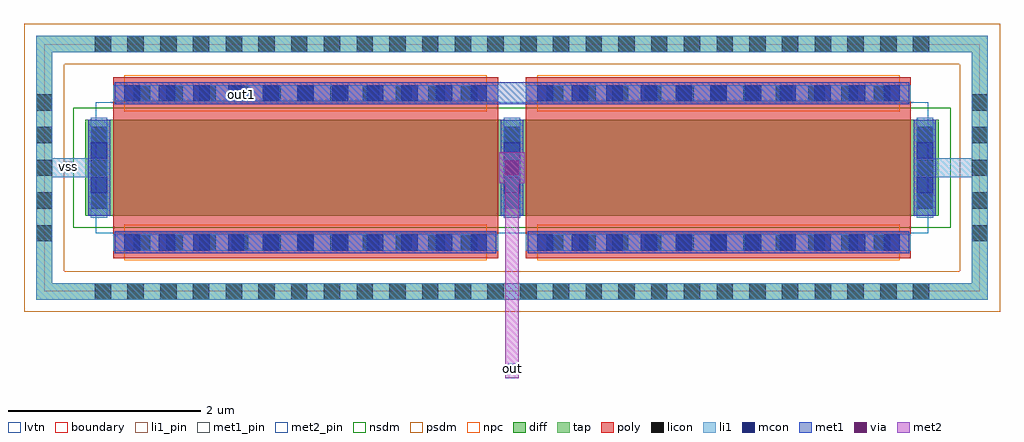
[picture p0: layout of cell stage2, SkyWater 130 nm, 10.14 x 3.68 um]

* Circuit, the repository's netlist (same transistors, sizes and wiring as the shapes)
* SPDX-License-Identifier: Apache-2.0
* Copyright 2026 Mauro Rodriguez Blasco
*
* Third layout exercise: the comparator's second stage XM6, two units of the mirror's unit
* (w=1 l=4) as one 2-finger device with its guard ring, so that it carries 1 uA at the same
* V_GS as XM4. Its errors reach the input divided by the first stage's gain (about 67): it
* needs no common centroid and no dummies. Diffusion columns: vss out vss, so that out, the
* node that swings rail to rail, has one shared column, half the junction of two outer ones.
* out1 enters on the gates' top contacts and out leaves downwards, on the opposite side.
* Guard ring (the body): vss. Reference for LVS (scripts/flow.py lvs stage2).
.subckt stage2 out1 out vss
XM6 out out1 vss vss sky130_fd_pr__nfet_01v8_lvt w=1 l=4 mult=2 m=2
.ends stage2

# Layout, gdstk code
import gdstk
lib = gdstk.Library(unit=1e-6, precision=1e-09)
def R(c, l, rs):  # rectangles x0, y0, x1, y1
    for r in rs: c.add(gdstk.rectangle(r[:2], r[2:], *l))
def A(c, l, x, y, w, h, nx, ny, dx, dy):  # array of equal rectangles
    R(c, l, [(x+i*dx, y+j*dy, x+i*dx+w, y+j*dy+h) for i in range(nx) for j in range(ny)])
diff = (65, 20)
tap = (65, 44)
poly = (66, 20)
licon = (66, 44)
li1_pin = (67, 16)
li1 = (67, 20)
mcon = (67, 44)
met1_pin = (68, 16)
met1 = (68, 20)
via = (68, 44)
met2_pin = (69, 16)
met2 = (69, 20)
nsdm = (93, 44)
psdm = (94, 20)
npc = (95, 20)
lvtn = (125, 44)
boundary = (235, 4)

sky130_fd_pr__nfet_01v8_ = lib.new_cell('sky130_fd_pr__nfet_01v8_lvt_V2W96S')
R(sky130_fd_pr__nfet_01v8_, diff, [(-4.435,-0.5,4.435,0.5)])
R(sky130_fd_pr__nfet_01v8_, tap, [(-4.945,-1.37,4.945,-1.2), (-4.945,-1.2,-4.775,1.2), (4.775,-1.2,4.945,1.2), (-4.945,1.2,4.945,1.37)])
R(sky130_fd_pr__nfet_01v8_, poly, [(-4.145,-0.94,-0.145,0.94), (0.145,-0.94,4.145,0.94)])
A(sky130_fd_pr__nfet_01v8_, licon, -4.335, -1.37, 0.17, 0.17, 26, 2, 0.34, 2.57)
A(sky130_fd_pr__nfet_01v8_, licon, -3.93, -0.86, 0.17, 0.17, 11, 2, 0.34, 1.55)
A(sky130_fd_pr__nfet_01v8_, licon, 0.36, -0.86, 0.17, 0.17, 11, 2, 0.34, 1.55)
A(sky130_fd_pr__nfet_01v8_, licon, -4.945, -0.765, 0.17, 0.17, 1, 5, 0, 0.34)
A(sky130_fd_pr__nfet_01v8_, licon, 4.775, -0.765, 0.17, 0.17, 1, 5, 0, 0.34)
A(sky130_fd_pr__nfet_01v8_, licon, -4.375, -0.425, 0.17, 0.17, 3, 3, 4.29, 0.34)
A(sky130_fd_pr__nfet_01v8_, li1, -4.375, -0.52, 0.17, 1.04, 3, 1, 4.29, 0)
R(sky130_fd_pr__nfet_01v8_, li1, [(-4.945,-1.37,4.945,-1.2), (-4.945,-1.2,-4.775,1.2), (4.775,-1.2,4.945,1.2), (-4.145,-0.86,-0.145,-0.69), (0.145,-0.86,4.145,-0.69), (-4.145,0.69,-0.145,0.86), (0.145,0.69,4.145,0.86), (-4.945,1.2,4.945,1.37)])
A(sky130_fd_pr__nfet_01v8_, mcon, -4.03, -0.86, 0.17, 0.17, 11, 2, 0.36, 1.55)
A(sky130_fd_pr__nfet_01v8_, mcon, 0.26, -0.86, 0.17, 0.17, 11, 2, 0.36, 1.55)
A(sky130_fd_pr__nfet_01v8_, mcon, -4.375, -0.265, 0.17, 0.17, 3, 2, 4.29, 0.36)
A(sky130_fd_pr__nfet_01v8_, met1, -4.405, -0.5, 0.23, 1, 3, 1, 4.29, 0)
R(sky130_fd_pr__nfet_01v8_, met1, [(-4.125,-0.89,-0.165,-0.66), (0.165,-0.89,4.125,-0.66), (-4.125,0.66,-0.165,0.89), (0.165,0.66,4.125,0.89)])
R(sky130_fd_pr__nfet_01v8_, nsdm, [(-4.56,-0.625,4.56,0.625)])
R(sky130_fd_pr__nfet_01v8_, psdm, [(-5.07,-1.495,5.07,-1.075), (-5.07,-1.075,-4.65,1.075), (4.65,-1.075,5.07,1.075), (-5.07,1.075,5.07,1.495)])
R(sky130_fd_pr__nfet_01v8_, npc, [(-4.03,-0.96,-0.26,-0.59), (0.26,-0.96,4.03,-0.59), (-4.03,0.59,-0.26,0.96), (0.26,0.59,4.03,0.96)])
R(sky130_fd_pr__nfet_01v8_, lvtn, [(-4.325,-0.68,4.325,0.68)])
R(sky130_fd_pr__nfet_01v8_, boundary, [(-4.86,-1.285,4.86,1.285)])
sky130_fd_pr__nfet_01v8_.add(gdstk.Label('B', (0,-1.285), layer=67, texttype=5))
sky130_fd_pr__nfet_01v8_.add(gdstk.Label('D0', (-4.29,0), layer=67, texttype=5))
sky130_fd_pr__nfet_01v8_.add(gdstk.Label('G0', (-2.145,0.775), layer=67, texttype=5))
sky130_fd_pr__nfet_01v8_.add(gdstk.Label('S1', (0,0), layer=67, texttype=5))
sky130_fd_pr__nfet_01v8_.add(gdstk.Label('G1', (2.145,0.775), layer=67, texttype=5))

stage2 = lib.new_cell('stage2')
R(stage2, li1_pin, [(0.2,1.25,0.3,1.35)])
R(stage2, li1, [(-0.085,1.185,0.6,1.385), (9.12,1.185,9.805,1.385)])
R(stage2, met1_pin, [(2,2,2.1,2.1)])
R(stage2, met1, [(4.73,1.125,4.99,1.445), (0.735,1.945,8.985,2.175)])
R(stage2, via, [(4.785,1.21,4.935,1.36)])
R(stage2, met2_pin, [(4.82,-0.85,4.9,-0.75)])
R(stage2, met2, [(4.79,-0.9,4.93,1.125), (4.73,1.125,4.99,1.445)])
stage2.add(gdstk.Reference(sky130_fd_pr__nfet_01v8_, (4.86,1.285)))
stage2.add(gdstk.Label('vss', (0.25,1.3), layer=67, texttype=5))
stage2.add(gdstk.Label('out1', (2.05,2.05), layer=68, texttype=5))
stage2.add(gdstk.Label('out', (4.86,-0.8), layer=69, texttype=5))

lib.write_gds('stage2.gds')
